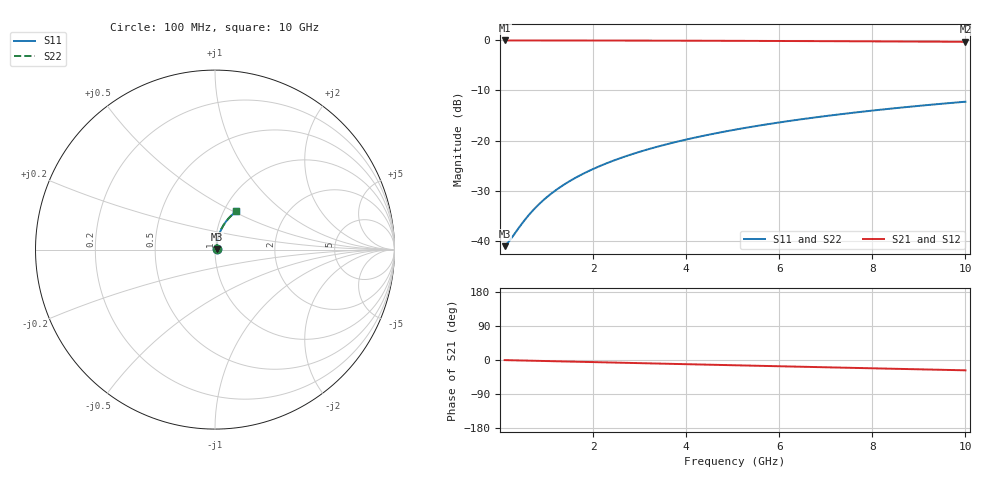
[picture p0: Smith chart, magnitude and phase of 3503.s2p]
# Hz S RI R 50.00
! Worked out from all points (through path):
!   100 points, 100 MHz to 10 GHz, reference 50 ohm
!   highest |S21| = -0.07 dB at 100 MHz (marker M1); lowest = -0.3 dB at 10 GHz (marker M2)
!   group delay of S21, straight-line fit = 7.57 ps
!   lowest |S11| = -41.0 dB at 100 MHz (marker M3), VSWR 1.02, Z = 50.9 + j0.257 ohm
!   |S11| at or under -10 dB: start of sweep to end of sweep
!   |S22| runs from -41.0 to -12.3 dB; largest |S21 - S12| = 0
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1e8  0.00852 0.00253  0.9915 -0.00479  0.9915 -0.00479  0.00852 0.00253
2e8  0.00861 0.00506  0.9914 -0.00957  0.9914 -0.00957  0.00861 0.00506
5e8  0.00897 0.0126  0.991 -0.0239  0.991 -0.0239  0.00897 0.0126
6e8  0.00913 0.0152  0.9908 -0.0287  0.9908 -0.0287  0.00913 0.0152
7e8  0.00931 0.0177  0.9905 -0.0335  0.9905 -0.0335  0.00931 0.0177
9e8  0.00974 0.0227  0.99 -0.043  0.99 -0.043  0.00974 0.0227
1.1e9  0.0103 0.0278  0.9894 -0.0526  0.9894 -0.0526  0.0103 0.0278
1.3e9  0.0109 0.0328  0.9887 -0.0621  0.9887 -0.0621  0.0109 0.0328
1.5e9  0.0116 0.0378  0.9878 -0.0716  0.9878 -0.0716  0.0116 0.0378
1.8e9  0.0128 0.0453  0.9863 -0.0859  0.9863 -0.0859  0.0128 0.0453
2.1e9  0.0143 0.0527  0.9845 -0.1001  0.9845 -0.1001  0.0143 0.0527
2.5e9  0.0165 0.0625  0.9818 -0.119  0.9818 -0.119  0.0165 0.0625
2.9e9  0.0192 0.0722  0.9786 -0.1377  0.9786 -0.1377  0.0192 0.0722
3.4e9  0.023 0.0842  0.974 -0.161  0.974 -0.161  0.023 0.0842
3.8e9  0.0264 0.0937  0.9698 -0.1795  0.9698 -0.1795  0.0264 0.0937
4.2e9  0.0302 0.1029  0.9651 -0.1978  0.9651 -0.1978  0.0302 0.1029
5.1e9  0.0401 0.1232  0.9531 -0.2385  0.9531 -0.2385  0.0401 0.1232
5.9e9  0.0502 0.1403  0.9407 -0.2738  0.9407 -0.2738  0.0502 0.1403
6.7e9  0.0615 0.1566  0.9268 -0.3082  0.9268 -0.3082  0.0615 0.1566
7.5e9  0.0739 0.1718  0.9113 -0.3417  0.9113 -0.3417  0.0739 0.1718
8.4e9  0.0892 0.1877  0.8923 -0.3782  0.8923 -0.3782  0.0892 0.1877
1e10  0.1191 0.2125  0.8545 -0.4394  0.8545 -0.4394  0.1191 0.2125
